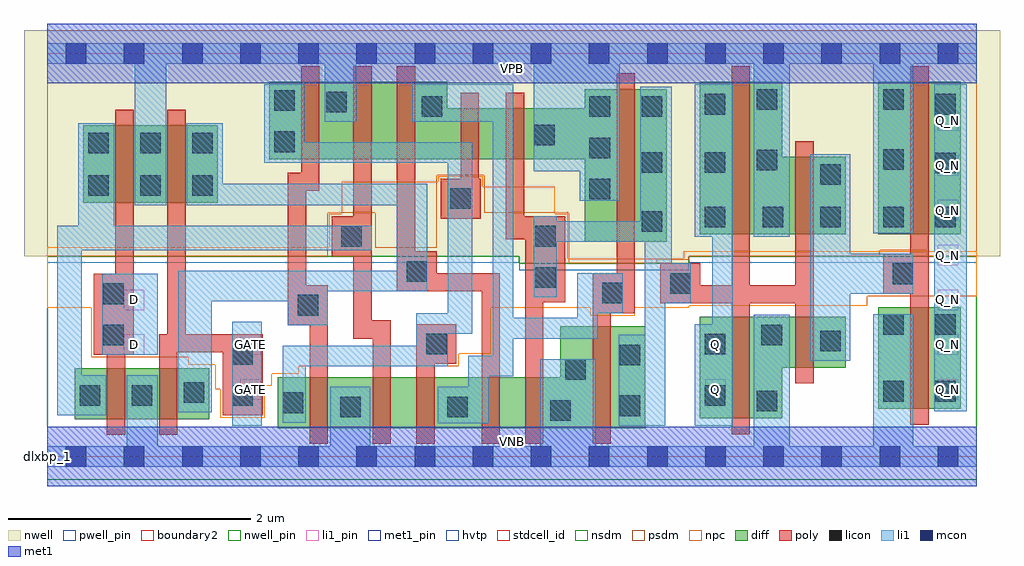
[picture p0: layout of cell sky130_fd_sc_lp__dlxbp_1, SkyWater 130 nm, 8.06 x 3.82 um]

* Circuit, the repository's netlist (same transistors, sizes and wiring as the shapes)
* Copyright 2020 The SkyWater PDK Authors
*
* Licensed under the Apache License, Version 2.0 (the "License");
* you may not use this file except in compliance with the License.
* You may obtain a copy of the License at
*
*     https://www.apache.org/licenses/LICENSE-2.0
*
* Unless required by applicable law or agreed to in writing, software
* distributed under the License is distributed on an "AS IS" BASIS,
* WITHOUT WARRANTIES OR CONDITIONS OF ANY KIND, either express or implied.
* See the License for the specific language governing permissions and
* limitations under the License.
*
* SPDX-License-Identifier: Apache-2.0

.SUBCKT sky130_fd_sc_lp__dlxbp_1 D GATE VGND VNB VPB VPWR Q Q_N
*.PININFO D:I GATE:I VGND:I VNB:I VPB:I VPWR:I Q:O Q_N:O
MI635 clkpos clkneg VPWR VPB sky130_fd_pr__pfet_01v8_hvt m=1 w=0.64U l=0.15U mult=1
+ sa=0.265 sb=0.265 sd=0.28 area=0.063 perim=1.14
MI648 Q_N net79 VPWR VPB sky130_fd_pr__pfet_01v8_hvt m=1 w=1.26U l=0.15U mult=1
+ sa=0.265 sb=0.265 sd=0.28 area=0.063 perim=1.14
MI17 M0 clkneg net51 VPB sky130_fd_pr__pfet_01v8_hvt m=1 w=0.64U l=0.15U mult=1
+ sa=0.265 sb=0.265 sd=0.28 area=0.063 perim=1.14
MI646 net79 m1 VPWR VPB sky130_fd_pr__pfet_01v8_hvt m=1 w=0.64U l=0.15U mult=1
+ sa=0.265 sb=0.265 sd=0.28 area=0.063 perim=1.14
MI650 Q m1 VPWR VPB sky130_fd_pr__pfet_01v8_hvt m=1 w=1.26U l=0.15U mult=1 sa=0.265
+ sb=0.265 sd=0.28 area=0.063 perim=1.14
MI633 clkneg GATE VPWR VPB sky130_fd_pr__pfet_01v8_hvt m=1 w=0.64U l=0.15U mult=1
+ sa=0.265 sb=0.265 sd=0.28 area=0.063 perim=1.14
MI18 net51 db VPWR VPB sky130_fd_pr__pfet_01v8_hvt m=1 w=0.64U l=0.15U mult=1 sa=0.265
+ sb=0.265 sd=0.28 area=0.063 perim=1.14
MI653 net59 m1 VPWR VPB sky130_fd_pr__pfet_01v8_hvt m=1 w=0.42U l=0.15U mult=1
+ sa=0.265 sb=0.265 sd=0.28 area=0.063 perim=1.14
MI651 M0 clkpos net59 VPB sky130_fd_pr__pfet_01v8_hvt m=1 w=0.42U l=0.15U mult=1
+ sa=0.265 sb=0.265 sd=0.28 area=0.063 perim=1.14
MI655 m1 M0 VPWR VPB sky130_fd_pr__pfet_01v8_hvt m=1 w=1.26U l=0.15U mult=1 sa=0.265
+ sb=0.265 sd=0.28 area=0.063 perim=1.14
MI638 db D VPWR VPB sky130_fd_pr__pfet_01v8_hvt m=1 w=0.64U l=0.15U mult=1 sa=0.265
+ sb=0.265 sd=0.28 area=0.063 perim=1.14
MI634 clkneg GATE VGND VNB sky130_fd_pr__nfet_01v8 m=1 w=0.42U l=0.15U mult=1 sa=0.265
+ sb=0.265 sd=0.28 area=0.063 perim=1.14
MI647 Q_N net79 VGND VNB sky130_fd_pr__nfet_01v8 m=1 w=0.84U l=0.15U mult=1 sa=0.265
+ sb=0.265 sd=0.28 area=0.063 perim=1.14
MI649 Q m1 VGND VNB sky130_fd_pr__nfet_01v8 m=1 w=0.84U l=0.15U mult=1 sa=0.265
+ sb=0.265 sd=0.28 area=0.063 perim=1.14
MI645 net79 m1 VGND VNB sky130_fd_pr__nfet_01v8 m=1 w=0.42U l=0.15U mult=1 sa=0.265
+ sb=0.265 sd=0.28 area=0.063 perim=1.14
MI652 M0 clkneg net102 VNB sky130_fd_pr__nfet_01v8 m=1 w=0.42U l=0.15U mult=1 sa=0.265
+ sb=0.265 sd=0.28 area=0.063 perim=1.14
MI654 net102 m1 VGND VNB sky130_fd_pr__nfet_01v8 m=1 w=0.42U l=0.15U mult=1 sa=0.265
+ sb=0.265 sd=0.28 area=0.063 perim=1.14
MI656 m1 M0 VGND VNB sky130_fd_pr__nfet_01v8 m=1 w=0.84U l=0.15U mult=1 sa=0.265
+ sb=0.265 sd=0.28 area=0.063 perim=1.14
MI636 clkpos clkneg VGND VNB sky130_fd_pr__nfet_01v8 m=1 w=0.42U l=0.15U mult=1
+ sa=0.265 sb=0.265 sd=0.28 area=0.063 perim=1.14
MI637 db D VGND VNB sky130_fd_pr__nfet_01v8 m=1 w=0.42U l=0.15U mult=1 sa=0.265
+ sb=0.265 sd=0.28 area=0.063 perim=1.14
MI19 M0 clkpos net98 VNB sky130_fd_pr__nfet_01v8 m=1 w=0.42U l=0.15U mult=1 sa=0.265
+ sb=0.265 sd=0.28 area=0.063 perim=1.14
MI20 net98 db VGND VNB sky130_fd_pr__nfet_01v8 m=1 w=0.42U l=0.15U mult=1 sa=0.265
+ sb=0.265 sd=0.28 area=0.063 perim=1.14
.ENDS sky130_fd_sc_lp__dlxbp_1

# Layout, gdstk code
import gdstk
lib = gdstk.Library(unit=1e-6, precision=1e-09)
def R(c, l, rs):  # rectangles x0, y0, x1, y1
    for r in rs: c.add(gdstk.rectangle(r[:2], r[2:], *l))
def A(c, l, x, y, w, h, nx, ny, dx, dy):  # array of equal rectangles
    R(c, l, [(x+i*dx, y+j*dy, x+i*dx+w, y+j*dy+h) for i in range(nx) for j in range(ny)])
def P(c, l, *ps):  # polygons
    for p in ps: c.add(gdstk.Polygon(p, *l))
nwell_pin = (64, 16)
nwell = (64, 20)
diff = (65, 20)
poly = (66, 20)
licon = (66, 44)
li1_pin = (67, 16)
li1 = (67, 20)
mcon = (67, 44)
met1_pin = (68, 16)
met1 = (68, 20)
hvtp = (78, 44)
stdcell_id = (81, 4)
nsdm = (93, 44)
psdm = (94, 20)
npc = (95, 20)
pwell_pin = (122, 16)
boundary2 = (236, 0)

sky130_fd_sc_lp__dlxbp_1 = lib.new_cell('sky130_fd_sc_lp__dlxbp_1')
R(sky130_fd_sc_lp__dlxbp_1, nwell_pin, [(0,3.085,7.68,3.33)])
P(sky130_fd_sc_lp__dlxbp_1, nwell, [(7.87,3.52),(-0.19,3.52),(-0.19,1.655),(3.9,1.655),(3.9,1.595),(5.3,1.595),(5.3,1.655),(7.87,1.655)])
R(sky130_fd_sc_lp__dlxbp_1, diff, [(0.23,0.31,1.34,0.73), (6.865,0.395,7.545,1.235), (6.865,1.835,7.545,3.095), (0.3,2.095,1.41,2.735)])
P(sky130_fd_sc_lp__dlxbp_1, diff, [(4.94,1.075),(4.24,1.075),(4.24,0.655),(1.905,0.655),(1.905,0.235),(4.94,0.235)],
  [(5.12,3.035),(4.44,3.035),(4.44,2.875),(3.305,2.875),(3.305,3.095),(1.835,3.095),(1.835,2.455),(4.44,2.455),(4.44,1.775),(5.12,1.775)],
  [(6.595,2.475),(6.07,2.475),(6.07,3.095),(5.39,3.095),(5.39,1.835),(6.595,1.835)],
  [(6.595,1.155),(5.39,1.155),(5.39,0.315),(6.07,0.315),(6.07,0.735),(6.595,0.735)])
P(sky130_fd_sc_lp__dlxbp_1, poly, [(0.715,2.865),(0.565,2.865),(0.565,1.51),(0.385,1.51),(0.385,0.84),(0.495,0.84),(0.495,0.18),(0.645,0.18),(0.645,0.84),(0.715,0.84)],
  [(1.78,1.01),(1.145,1.01),(1.145,2.865),(0.995,2.865),(0.995,1.01),(0.925,1.01),(0.925,0.18),(1.075,0.18),(1.075,0.86),(1.45,0.86),(1.45,0.34),(1.78,0.34)],
  [(2.32,1.415),(2.14,1.415),(2.14,2.195),(2.25,2.195),(2.25,3.225),(2.1,3.225),(2.1,2.345),(1.99,2.345),(1.99,1.085),(2.17,1.085),(2.17,0.105),(2.32,0.105)],
  [(2.84,1.125),(2.68,1.125),(2.68,3.225),(2.53,3.225),(2.53,1.985),(2.35,1.985),(2.35,1.655),(2.53,1.655),(2.53,0.975),(2.69,0.975),(2.69,0.105),(2.84,0.105)],
  [(3.38,1.095),(3.05,1.095),(3.05,0.105),(3.2,0.105),(3.2,0.765),(3.38,0.765)],
  [(3.58,2.295),(3.565,2.295),(3.565,3.005),(3.415,3.005),(3.415,2.295),(3.25,2.295),(3.25,1.965),(3.58,1.965)],
  [(3.74,1.515),(3.22,1.515),(3.22,1.695),(3.04,1.695),(3.04,3.225),(2.89,3.225),(2.89,1.365),(3.59,1.365),(3.59,0.105),(3.74,0.105)],
  [(4.28,1.985),(3.94,1.985),(3.94,3.005),(3.79,3.005),(3.79,1.795),(3.95,1.795),(3.95,0.105),(4.1,0.105),(4.1,1.275),(4.28,1.275)],
  [(4.855,3.165),(4.705,3.165),(4.705,1.515),(4.505,1.515),(4.505,0.105),(4.655,0.105),(4.655,1.185),(4.855,1.185)],
  [(6.33,2.605),(6.18,2.605),(6.18,1.415),(5.805,1.415),(5.805,3.225),(5.655,3.225),(5.655,1.415),(5.395,1.415),(5.395,1.595),(5.065,1.595),(5.065,1.265),(5.655,1.265),(5.655,0.185),(5.805,0.185),(5.805,1.265),(6.18,1.265),(6.18,0.605),(6.33,0.605)],
  [(7.28,3.225),(7.13,3.225),(7.13,1.675),(6.905,1.675),(6.905,1.345),(7.13,1.345),(7.13,0.265),(7.28,0.265)])
A(sky130_fd_sc_lp__dlxbp_1, licon, 4.48, 2.125, 0.17, 0.17, 1, 3, 0, 0.34)
A(sky130_fd_sc_lp__dlxbp_1, licon, 0.34, 2.155, 0.17, 0.17, 3, 2, 0.43, 0.35)
R(sky130_fd_sc_lp__dlxbp_1, licon, [(4.155,0.295,4.325,0.465), (2.42,0.325,2.59,0.495), (3.305,0.325,3.475,0.495), (4.73,0.335,4.9,0.505), (1.945,0.36,2.115,0.53), (5.86,0.375,6.03,0.545), (0.27,0.42,0.44,0.59), (0.7,0.42,0.87,0.59), (1.53,0.42,1.7,0.59), (5.43,0.42,5.6,0.59), (1.13,0.445,1.3,0.615), (6.905,0.455,7.075,0.625), (7.335,0.455,7.505,0.625), (4.28,0.635,4.45,0.805), (4.73,0.755,4.9,0.925), (1.53,0.76,1.7,0.93), (3.13,0.845,3.3,1.015), (5.43,0.845,5.6,1.015), (6.385,0.87,6.555,1.04), (0.465,0.92,0.635,1.09), (5.9,0.92,6.07,1.09), (6.905,1.005,7.075,1.175), (7.335,1.005,7.505,1.175), (2.07,1.165,2.24,1.335), (0.465,1.26,0.635,1.43), (4.585,1.265,4.755,1.435), (5.145,1.345,5.315,1.515), (4.03,1.395,4.2,1.565), (6.985,1.425,7.155,1.595), (2.97,1.445,3.14,1.615), (2.43,1.735,2.6,1.905), (4.03,1.735,4.2,1.905), (4.91,1.855,5.08,2.025), (5.43,1.895,5.6,2.065), (5.91,1.895,6.08,2.065), (6.385,1.895,6.555,2.065), (6.905,1.895,7.075,2.065), (7.335,1.895,7.505,2.065), (3.33,2.045,3.5,2.215), (6.385,2.245,6.555,2.415), (7.335,2.34,7.505,2.51), (4.91,2.345,5.08,2.515), (5.43,2.345,5.6,2.515), (5.86,2.365,6.03,2.535), (6.905,2.37,7.075,2.54), (1.875,2.515,2.045,2.685), (4.025,2.57,4.195,2.74), (3.095,2.805,3.265,2.975), (4.91,2.805,5.08,2.975), (5.43,2.825,5.6,2.995), (7.335,2.825,7.505,2.995), (2.305,2.845,2.475,3.015), (1.875,2.855,2.045,3.025), (5.86,2.865,6.03,3.035), (6.905,2.865,7.075,3.035)])
A(sky130_fd_sc_lp__dlxbp_1, li1_pin, 7.355, 0.47, 0.17, 0.17, 1, 7, 0, 0.37)
R(sky130_fd_sc_lp__dlxbp_1, li1_pin, [(1.595,0.47,1.765,0.64), (5.435,0.47,5.605,0.64), (0.635,0.84,0.805,1.01), (1.595,0.84,1.765,1.01), (5.435,0.84,5.605,1.01), (0.635,1.21,0.805,1.38)])
R(sky130_fd_sc_lp__dlxbp_1, li1, [(1.53,0.255,1.775,1.115), (7.325,0.375,7.595,3.075), (0.455,0.84,0.915,1.51)])
P(sky130_fd_sc_lp__dlxbp_1, li1, [(7.68,3.415),(0,3.415),(0,3.245),(0.725,3.245),(0.725,2.075),(0.985,2.075),(0.985,3.245),(2.295,3.245),(2.295,2.765),(2.555,2.765),(2.555,3.245),(4.02,3.245),(4.02,2.355),(4.4,2.355),(4.4,2.115),(4.73,2.115),(4.73,3.245),(5.835,3.245),(5.835,1.815),(6.135,1.815),(6.135,3.245),(6.825,3.245),(6.825,1.845),(7.155,1.845),(7.155,3.245),(7.68,3.245)],
  [(2.34,0.085),(2.34,0.575),(2.67,0.575),(2.67,0.085),(4.075,0.085),(4.075,0.805),(4.53,0.805),(4.53,0.085),(5.835,0.085),(5.835,1.17),(6.135,1.17),(6.135,0.085),(6.825,0.085),(6.825,1.175),(7.155,1.175),(7.155,0.085),(7.68,0.085),(7.68,-0.085),(0,-0.085),(0,0.085),(0.66,0.085),(0.66,0.67),(0.915,0.67),(0.915,0.085)],
  [(5.315,1.595),(5.16,1.595),(5.16,3.055),(4.9,3.055),(4.9,1.945),(4.21,1.945),(4.21,1.985),(4.02,1.985),(4.02,1.315),(4.21,1.315),(4.21,1.775),(4.935,1.775),(4.935,1.005),(4.72,1.005),(4.72,0.255),(5.105,0.255),(5.105,1.265),(5.315,1.265)],
  [(5.35,0.255),(5.35,1.095),(5.495,1.095),(5.495,1.815),(5.35,1.815),(5.35,3.075),(5.665,3.075),(5.665,0.255)],
  [(2.89,1.535),(2.89,2.075),(1.155,2.075),(1.155,2.755),(1.45,2.755),(1.45,2.255),(3.14,2.255),(3.14,1.365),(2.32,1.365),(2.32,1.085),(1.99,1.085),(1.99,1.285),(1.36,1.285),(1.36,0.365),(1.085,0.365),(1.085,1.535)],
  [(4.755,1.515),(4.38,1.515),(4.38,1.145),(3.85,1.145),(3.85,3.075),(3.015,3.075),(3.015,2.765),(3.68,2.765),(3.68,0.835),(3.48,0.835),(3.48,0.575),(3.225,0.575),(3.225,0.275),(3.65,0.275),(3.65,0.665),(3.85,0.665),(3.85,0.975),(4.55,0.975),(4.55,1.185),(4.755,1.185)],
  [(2.135,0.745),(2.135,0.28),(1.945,0.28),(1.945,0.915),(3.05,0.915),(3.05,1.185),(3.31,1.185),(3.31,2.425),(1.795,2.425),(1.795,3.075),(2.125,3.075),(2.125,2.595),(3.51,2.595),(3.51,1.015),(3.31,1.015),(3.31,0.745)],
  [(0.555,1.905),(2.68,1.905),(2.68,1.705),(0.285,1.705),(0.285,0.67),(0.49,0.67),(0.49,0.34),(0.085,0.34),(0.085,1.905),(0.26,1.905),(0.26,2.755),(0.555,2.755)],
  [(6.635,1.675),(7.155,1.675),(7.155,1.345),(6.635,1.345),(6.635,0.79),(6.305,0.79),(6.305,2.495),(6.635,2.495)])
A(sky130_fd_sc_lp__dlxbp_1, mcon, 0.155, -0.085, 0.17, 0.17, 16, 2, 0.48, 3.33)
R(sky130_fd_sc_lp__dlxbp_1, met1_pin, [(0,0,7.68,0.245), (0,3.085,7.68,3.33)])
R(sky130_fd_sc_lp__dlxbp_1, met1, [(0,-0.245,7.68,0.245), (0,3.085,7.68,3.575)])
P(sky130_fd_sc_lp__dlxbp_1, hvtp, [(7.68,3.33),(0,3.33),(0,1.6),(3.9,1.6),(3.9,1.54),(5.3,1.54),(5.3,1.6),(7.68,1.6)])
R(sky130_fd_sc_lp__dlxbp_1, stdcell_id, [(0,0,7.68,3.33)])
P(sky130_fd_sc_lp__dlxbp_1, nsdm, [(7.68,1.655),(5.3,1.655),(5.3,1.595),(3.9,1.595),(3.9,1.655),(0,1.655),(0,-0.19),(7.68,-0.19)])
P(sky130_fd_sc_lp__dlxbp_1, psdm, [(7.68,3.52),(0,3.52),(0,1.655),(2.32,1.655),(2.32,2.015),(2.71,2.015),(2.71,1.725),(3.22,1.725),(3.22,2.325),(3.61,2.325),(3.61,2.015),(4.31,2.015),(4.31,1.595),(5.035,1.595),(5.035,1.625),(5.3,1.625),(5.3,1.655),(6.875,1.655),(6.875,1.705),(7.265,1.705),(7.265,1.655),(7.68,1.655)])
P(sky130_fd_sc_lp__dlxbp_1, npc, [(7.68,1.695),(5.26,1.695),(5.26,1.635),(4.3,1.635),(4.3,2.005),(4.195,2.005),(4.195,2.23),(3.6,2.23),(3.6,2.315),(3.23,2.315),(3.23,2.27),(2.435,2.27),(2.435,2.005),(2.33,2.005),(2.33,1.73),(0,1.73),(0,1.23),(0.365,1.23),(0.365,0.82),(1.165,0.82),(1.165,0.76),(1.39,0.76),(1.39,0.555),(1.43,0.555),(1.43,0.32),(1.8,0.32),(1.8,0.585),(1.855,0.585),(1.855,0.685),(2.08,0.685),(2.08,0.745),(3.4,0.745),(3.4,0.85),(3.665,0.85),(3.665,1.23),(4.485,1.23),(4.485,1.165),(4.855,1.165),(4.855,1.23),(5.3,1.23),(5.3,1.245),(6.775,1.245),(6.775,1.325),(7.68,1.325)])
R(sky130_fd_sc_lp__dlxbp_1, pwell_pin, [(0,0,7.68,0.245)])
R(sky130_fd_sc_lp__dlxbp_1, boundary2, [(0,0,7.68,3.33)])
sky130_fd_sc_lp__dlxbp_1.add(gdstk.Label('VNB', (3.84,0.123), layer=64, texttype=59))
sky130_fd_sc_lp__dlxbp_1.add(gdstk.Label('VPB', (3.84,3.208), layer=64, texttype=5))
sky130_fd_sc_lp__dlxbp_1.add(gdstk.Label('dlxbp_1', (0,0), layer=83, texttype=44))
sky130_fd_sc_lp__dlxbp_1.add(gdstk.Label('VPWR', (3.84,3.208), layer=68, texttype=5))
sky130_fd_sc_lp__dlxbp_1.add(gdstk.Label('VGND', (3.84,0.123), layer=68, texttype=5))
sky130_fd_sc_lp__dlxbp_1.add(gdstk.Label('Q_N', (7.44,0.555), layer=67, texttype=5))
sky130_fd_sc_lp__dlxbp_1.add(gdstk.Label('Q_N', (7.44,0.925), layer=67, texttype=5))
sky130_fd_sc_lp__dlxbp_1.add(gdstk.Label('Q_N', (7.44,1.295), layer=67, texttype=5))
sky130_fd_sc_lp__dlxbp_1.add(gdstk.Label('Q_N', (7.44,1.665), layer=67, texttype=5))
sky130_fd_sc_lp__dlxbp_1.add(gdstk.Label('Q_N', (7.44,2.035), layer=67, texttype=5))
sky130_fd_sc_lp__dlxbp_1.add(gdstk.Label('Q_N', (7.44,2.405), layer=67, texttype=5))
sky130_fd_sc_lp__dlxbp_1.add(gdstk.Label('Q_N', (7.44,2.775), layer=67, texttype=5))
sky130_fd_sc_lp__dlxbp_1.add(gdstk.Label('D', (0.72,0.925), layer=67, texttype=5))
sky130_fd_sc_lp__dlxbp_1.add(gdstk.Label('D', (0.72,1.295), layer=67, texttype=5))
sky130_fd_sc_lp__dlxbp_1.add(gdstk.Label('Q', (5.52,0.555), layer=67, texttype=5))
sky130_fd_sc_lp__dlxbp_1.add(gdstk.Label('Q', (5.52,0.925), layer=67, texttype=5))
sky130_fd_sc_lp__dlxbp_1.add(gdstk.Label('GATE', (1.68,0.555), layer=67, texttype=5))
sky130_fd_sc_lp__dlxbp_1.add(gdstk.Label('GATE', (1.68,0.925), layer=67, texttype=5))

lib.write_gds('sky130_fd_sc_lp__dlxbp_1.gds')
